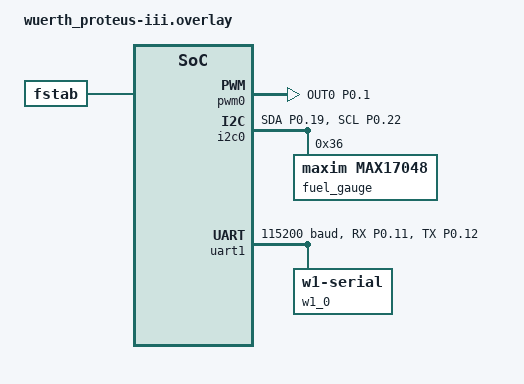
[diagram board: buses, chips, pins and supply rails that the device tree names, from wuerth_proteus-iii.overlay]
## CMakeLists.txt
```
cmake_minimum_required(VERSION 3.20.0)

# create compile_commands.json for VS Code
set(CMAKE_EXPORT_COMPILE_COMMANDS ON)

list(APPEND BOARD_ROOT ${CMAKE_CURRENT_SOURCE_DIR})
set(BOARD wuerth_proteus-iii)

list(APPEND ZEPHYR_EXTRA_MODULES
  ${CMAKE_CURRENT_SOURCE_DIR}/modules/max17048
)

find_package(Zephyr REQUIRED HINTS $ENV{ZEPHYR_BASE})
project(lh_device)

target_sources(app PRIVATE
  src/main.c
  src/ble.c
  src/pwm.c
  src/temp.c
  # src/adc.c
  src/battery.c
  src/power.c
  src/storage.c
)
```

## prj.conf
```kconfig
# General settings
CONFIG_SERIALNO=17
# CONFIG_BT_CTLR_ADV_EXT=y

# BLE-related settings
CONFIG_BT_DEVICE_NAME="lh_device_17"
CONFIG_BT=y
CONFIG_BT_PERIPHERAL=y
CONFIG_SETTINGS=y
CONFIG_NVS=y
CONFIG_FLASH=y
CONFIG_FLASH_MAP=y
CONFIG_SETTINGS_NVS=y
CONFIG_BT_SETTINGS=y
# Generic Light Source (0x7C0)
CONFIG_BT_DEVICE_APPEARANCE=1984
# Zephyr controller
CONFIG_BT_LL_SW_SPLIT=y
CONFIG_BT_CTLR_TX_PWR_PLUS_8=y  # +8 dBm
CONFIG_BT_SMP=y  # encryption support
CONFIG_BT_MAX_CONN=1
CONFIG_BT_BONDABLE=n
# workaround for https://github.com/zephyrproject-rtos/zephyr/issues/56197
CONFIG_BT_LL_SW_LLCP_LEGACY=y

# BLE connection power saving
CONFIG_BT_PERIPHERAL_PREF_MIN_INT=80
CONFIG_BT_PERIPHERAL_PREF_MAX_INT=100
CONFIG_BT_PERIPHERAL_PREF_LATENCY=2
CONFIG_BT_PERIPHERAL_PREF_TIMEOUT=500

# Sensors
CONFIG_SENSOR=y
CONFIG_BT_BAS=y
CONFIG_TEMP_NRF5=y
CONFIG_W1=y
CONFIG_DS18B20=y
CONFIG_I2C=y
CONFIG_MAX17048=y

# ADC
# CONFIG_ADC=y

# Power saving
CONFIG_PM_DEVICE=y

# PWM
CONFIG_NRFX_PWM0=y

# Enable MCUBoot
CONFIG_BOOTLOADER_MCUBOOT=y
CONFIG_MCUBOOT_IMAGE_VERSION="1.0.2"
CONFIG_MCUBOOT_UTIL_LOG_LEVEL_DBG=y

# OTA upgrades
CONFIG_MCUMGR=y
CONFIG_SYSTEM_WORKQUEUE_STACK_SIZE=4096
# Allow for large Bluetooth data packets
CONFIG_BT_L2CAP_TX_MTU=252
CONFIG_BT_BUF_ACL_RX_SIZE=256
# workaround for https://github.com/zephyrproject-rtos/zephyr/issues/44998
CONFIG_BT_L2CAP_TX_BUF_COUNT=128
CONFIG_MCUMGR_SMP_BT=y
CONFIG_MCUMGR_SMP_BT_AUTHEN=n
CONFIG_MCUMGR_SMP_BT_CONN_PARAM_CONTROL=y
CONFIG_MCUMGR_CMD_OS_MGMT=y
CONFIG_OS_MGMT_TASKSTAT=y
CONFIG_MCUMGR_CMD_IMG_MGMT=y
CONFIG_STATS=y
CONFIG_STATS_NAMES=y
CONFIG_MCUMGR_CMD_STAT_MGMT=y

# Logging
CONFIG_LOG=y
CONFIG_LOG_DEFAULT_LEVEL=2
CONFIG_LOG_MAX_LEVEL=2
CONFIG_LOG_PROCESS_THREAD_STACK_SIZE=4096
CONFIG_FILE_SYSTEM=y
CONFIG_FILE_SYSTEM_LITTLEFS=y
CONFIG_LOG_BACKEND_SHOW_COLOR=n
CONFIG_LOG_BACKEND_FS=y
CONFIG_LOG_BACKEND_FS_DIR="/lfs"
CONFIG_LOG_BACKEND_FS_FILES_LIMIT=3
CONFIG_LOG_BACKEND_FS_FILE_SIZE=1024
CONFIG_MCUMGR_CMD_FS_MGMT=y
CONFIG_HEAP_MEM_POOL_SIZE=16384
CONFIG_FILE_SYSTEM_SHELL=y

# Watchdog
CONFIG_WATCHDOG=y

# Debugging
CONFIG_DEBUG_THREAD_INFO=y
CONFIG_CBPRINTF_FP_SUPPORT=y
CONFIG_SHELL=y
CONFIG_BT_SHELL=y
CONFIG_SETTINGS_SHELL=y
CONFIG_MCUMGR_CMD_SHELL_MGMT=y
# minimal shell config
CONFIG_SHELL_MINIMAL=y
CONFIG_SHELL_VT100_COMMANDS=n
CONFIG_DEVMEM_SHELL=y
CONFIG_KERNEL_SHELL=y
CONFIG_DEVICE_SHELL=y
CONFIG_SHELL_BACKEND_SERIAL=n
CONFIG_SHELL_LOG_BACKEND=n
# extend buffers to avoid shell output truncation
CONFIG_SHELL_BACKEND_DUMMY_BUF_SIZE=1500
# Enable the mcumgr Packet Reassembly feature over Bluetooth and its configuration dependencies.
# MCUmgr buffer size is optimized to fit one SMP packet divided into five Bluetooth Write Commands,
# transmitted with the maximum possible MTU value: 498 bytes.
CONFIG_MCUMGR_SMP_REASSEMBLY_BT=y
CONFIG_MCUMGR_BUF_SIZE=2475
CONFIG_OS_MGMT_MCUMGR_PARAMS=y
CONFIG_MCUMGR_SMP_WORKQUEUE_STACK_SIZE=4608

# RTT
# CONFIG_USE_SEGGER_RTT=y
# CONFIG_RTT_CONSOLE=y
```

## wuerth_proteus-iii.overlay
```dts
/ {
	chosen {
		zephyr,shell-uart = &uart0;
	};
	aliases {
		pwm-led = &pwm0;
		chip-temp = &temp;
		ext-temp = &ext_temp;
		fuel-gauge = &fuel_gauge;
	};
	fstab {
		compatible = "zephyr,fstab";
		lfs: lfs {
			compatible = "zephyr,fstab,littlefs";
			mount-point = "/lfs";
			partition = <&lfs_partition>;
			automount;
			read-size = <16>;
			prog-size = <16>;
			cache-size = <64>;
			lookahead-size = <32>;
			block-cycles = <512>;
		};
	};
};

&pinctrl {
	uart1_default: uart1_default {
		group1 {
			psels = <NRF_PSEL(UART_RX, 0, 11)>;
			bias-pull-up;
		};
		group2 {
			psels = <NRF_PSEL(UART_TX, 0, 12)>;
			nordic,drive-mode = <NRF_DRIVE_H0D1>;
		};
	};
	uart1_sleep: uart1_sleep {
		group1 {
			psels = <NRF_PSEL(UART_RX, 0, 11)>,
					<NRF_PSEL(UART_TX, 0, 12)>;
			low-power-enable;
		};
	};
	i2c0_default: i2c0_default {
		group1{
			psels = <NRF_PSEL(TWIM_SDA, 0, 19)>,
					<NRF_PSEL(TWIM_SCL, 0, 22)>;
		};
	};
	i2c0_sleep: i2c0_sleep {
		group1{
			psels = <NRF_PSEL(TWIM_SDA, 0, 19)>,
					<NRF_PSEL(TWIM_SCL, 0, 22)>;
			low-power-enable;
		};
	};
	pwm0_default: pwm0_default {
		group1{
			psels = <NRF_PSEL(PWM_OUT0, 0, 1)>;
		};
	};
	pwm0_sleep: pwm0_sleep {
		group1{
			psels = <NRF_PSEL(PWM_OUT0, 0, 1)>;
			low-power-enable;
		};
	};
};

&pwm0 {
	status = "okay";
	pinctrl-0 = <&pwm0_default>;
	pinctrl-1 = <&pwm0_sleep>;
	pinctrl-names = "default", "sleep";
};

&i2c0 {
	status = "okay";
	pinctrl-0 = <&i2c0_default>;
	pinctrl-1 = <&i2c0_sleep>;
	pinctrl-names = "default", "sleep";

	fuel_gauge: max17048@36 {
		status = "okay";
		compatible = "maxim,max17048";
		enable-sleep;
		reg = <0x36>;
	};
};

&uart1 {
	status = "okay";
	current-speed = <115200>;
	pinctrl-0 = <&uart1_default>;
	pinctrl-1 = <&uart1_sleep>;
	pinctrl-names = "default", "sleep";

	w1_0: w1-zephyr-serial-0 {
		status = "okay";
		compatible = "zephyr,w1-serial";

		ext_temp: ds18b20 {
			status = "okay";
			compatible = "maxim,ds18b20";
			family-code = <0x28>;
			resolution = <12>;
		};
	};
};
```

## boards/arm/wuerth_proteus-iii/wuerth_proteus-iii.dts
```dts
// Copyright (c) 2021 Nordic Semiconductor ASA
// SPDX-License-Identifier: Apache-2.0

/dts-v1/;
#include <nordic/nrf52840_qiaa.dtsi>

/ {
	model = "Wuerth Proteus-III";
	compatible = "wuerth,wuerth_proteus-iii";

	chosen {
		zephyr,console = &uart0;
		zephyr,sram = &sram0;
		zephyr,flash = &flash0;
		zephyr,code-partition = &code_partition;
		zephyr,storage-partition = &storage_partition;
	};
};

&pinctrl {
	uart0_default: uart0_default {
		group1 {
			psels = <NRF_PSEL(UART_TX, 1, 8)>;
		};
		group2 {
			psels = <NRF_PSEL(UART_RX, 1, 9)>;
			bias-pull-up;
		};
	};
	uart0_sleep: uart0_sleep {
		group1 {
			psels = <NRF_PSEL(UART_TX, 1, 8)>,
					<NRF_PSEL(UART_RX, 1, 9)>;
			low-power-enable;
		};
	};
};

&uart0 {
	current-speed = <115200>;
	status = "okay";
	pinctrl-0 = <&uart0_default>;
	pinctrl-1 = <&uart0_sleep>;
	pinctrl-names = "default", "sleep";
	// tx-pin = <40>;
	// rx-pin = <41>;
};

&flash0 {
	partitions {
		compatible = "fixed-partitions";
		#address-cells = <1>;
		#size-cells = <1>;

		code_partition: partition@0 {
			label = "code";
			reg = <0x0 DT_SIZE_K(992)>;
		};
		storage_partition: partition@f8000 {
			label = "storage";
			reg = <DT_SIZE_K(992) DT_SIZE_K(24)>;
		};
		lfs_partition: partition@fe000 {
			label = "lfs";
			reg = <DT_SIZE_K(1016) DT_SIZE_K(8)>;
		};
	};
};
```

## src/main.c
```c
// SPDX-License-Identifier: GPL-3.0-only

/*
 *  Copyright (c) 2022 David Schiller <david.schiller@jku.at>
 */

#include "battery.h"
#include "ble.h"
#include "power.h"
#include "storage.h"
#include "temp.h"
#include <zephyr/bluetooth/services/bas.h>
#include <zephyr/drivers/watchdog.h>
#include <zephyr/logging/log.h>
#include <zephyr/pm/device.h>

LOG_MODULE_REGISTER(main);

#define LOW_POWER
#define LOG_INTERVAL 300000
#define WDT_INTERVAL (2 * LOG_INTERVAL)

extern STATS_SECT_DECL(dev_stats) dev_stats;
static const struct device *wdt_dev = DEVICE_DT_GET(DT_NODELABEL(wdt));
static int wdt_channel;

int setup_watchdog(void) {
    const struct wdt_timeout_cfg wdt_cfg = {
        .window = (struct wdt_window){0, WDT_INTERVAL},
        .flags = WDT_FLAG_RESET_SOC,
    };

    wdt_channel = wdt_install_timeout(wdt_dev, &wdt_cfg);
    if (wdt_channel >= 0) {
        return wdt_setup(wdt_dev, WDT_OPT_PAUSE_HALTED_BY_DBG);
    } else {
        return wdt_channel;
    }
}

void main(void) {
    int err;
    int reboot_count = -1;

    printk("Starting LionHearted device ...\n");
    printk("Serial No.: %03d\n", CONFIG_SERIALNO);
    printk("Build time: " __DATE__ " " __TIME__ "\n");
    printk("Reset reason: 0x%X\n", NRF_POWER->RESETREAS);

    err = setup_storage();
    if (err) {
        LOG_ERR("Storage setup failed (err %d)", err);
    } else {
        reboot_count = read_storage_i32(REBOOT_ID);
        if (reboot_count < 0) {
            write_storage_i32(REBOOT_ID, 0);
        } else {
            write_storage_i32(REBOOT_ID, ++reboot_count);
        }
        reboot_count = read_storage_i32(REBOOT_ID);
        printk("Reboot count: %d\n", reboot_count);
    }

    err = setup_watchdog();
    if (err) {
        LOG_ERR("WDT setup failed (err %d)", err);
    }
    wdt_feed(wdt_dev, wdt_channel);

    setup_ble();
    STATS_SET(dev_stats, reset_reason, NRF_POWER->RESETREAS);
    STATS_SET(dev_stats, reboots, reboot_count);
    printk("\n");

#ifdef LOW_POWER
    pm_console(PM_DEVICE_ACTION_SUSPEND);
    pm_w1(PM_DEVICE_ACTION_SUSPEND);
    pm_fuel_gauge(PM_DEVICE_ACTION_SUSPEND);
#endif

    for (;;) {
        wdt_feed(wdt_dev, wdt_channel);
        STATS_SET(dev_stats, uptime_s, k_uptime_get() / 1000);
        bt_bas_set_battery_level(read_soc());
        LOG_DBG("Batt: %d %%", bt_bas_get_battery_level());
        LOG_DBG("Batt (voltage): %d mV", read_voltage());
        update_adv();
        k_msleep(LOG_INTERVAL);
    }
}
```

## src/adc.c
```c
// SPDX-License-Identifier: GPL-3.0-only

/*
 *  Copyright (c) 2022 David Schiller <david.schiller@jku.at>
 */

#include <zephyr/drivers/adc.h>

#define AIN1 2
#define RESOLUTION 12

static const struct device *adc_dev = DEVICE_DT_GET(DT_NODELABEL(adc));
static const struct adc_channel_cfg adc_cfg = {.gain = ADC_GAIN_1_6,
                                               .reference = ADC_REF_INTERNAL,
                                               .acquisition_time =
                                                   ADC_ACQ_TIME_DEFAULT,
                                               .channel_id = 0,
                                               .differential = 0,
                                               .input_positive = AIN1};

int read_adc(void) {
    int16_t adc_value = 0;
    int32_t adc_int;
    struct adc_sequence_options adc_seq_opts = {.interval_us = 0,
                                                .callback = NULL,
                                                .user_data = NULL,
                                                .extra_samplings = 0};
    struct adc_sequence adc_seq = {.options = &adc_seq_opts,
                                   .channels = BIT(0),
                                   .buffer = &adc_value,
                                   .buffer_size = sizeof(adc_value),
                                   .resolution = RESOLUTION,
                                   .oversampling = 0,
                                   .calibrate = false};

    adc_channel_setup(adc_dev, &adc_cfg);
    adc_read(adc_dev, &adc_seq);
    adc_int = (int32_t)adc_value;

    return adc_raw_to_millivolts(adc_ref_internal(adc_dev), ADC_GAIN_1_6,
                                 RESOLUTION, &adc_int);
}
```

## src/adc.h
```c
// SPDX-License-Identifier: GPL-3.0-only

/*
 *  Copyright (c) 2022 David Schiller <david.schiller@jku.at>
 */

int read_adc(void);
```

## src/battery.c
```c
// SPDX-License-Identifier: GPL-3.0-only

/*
 *  Copyright (c) 2022 David Schiller <david.schiller@jku.at>
 */

#include "power.h"
#include <zephyr/drivers/sensor.h>

static const struct device *fuel_dev = DEVICE_DT_GET(DT_ALIAS(fuel_gauge));

int read_soc(void) {
    struct sensor_value soc;

    sensor_sample_fetch(fuel_dev);
    sensor_channel_get(fuel_dev, SENSOR_CHAN_GAUGE_STATE_OF_CHARGE, &soc);

    return soc.val1;
}

int read_voltage(void) {
    struct sensor_value voltage;

    sensor_sample_fetch(fuel_dev);
    sensor_channel_get(fuel_dev, SENSOR_CHAN_GAUGE_VOLTAGE, &voltage);

    // voltage in millivolts
    return voltage.val1 * 1000 + voltage.val2 / 1000;
}
```

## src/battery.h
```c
// SPDX-License-Identifier: GPL-3.0-only

/*
 *  Copyright (c) 2022 David Schiller <david.schiller@jku.at>
 */

int read_soc(void);
int read_voltage(void);
```

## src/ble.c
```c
// SPDX-License-Identifier: GPL-3.0-only

/*
 *  Copyright (c) 2022 David Schiller <david.schiller@jku.at>
 */

#include "ble.h"
#include "battery.h"
#include "temp.h"
#include <zephyr/bluetooth/bluetooth.h>
#include <zephyr/bluetooth/conn.h>
#include <zephyr/bluetooth/gatt.h>
#include <zephyr/bluetooth/uuid.h>
#include <zephyr/logging/log.h>
#include <zephyr/settings/settings.h>

// OTA
#ifdef CONFIG_MCUMGR_SMP_BT
#include <zephyr/mgmt/mcumgr/smp_bt.h>
#endif
#ifdef CONFIG_MCUMGR_CMD_OS_MGMT
#include "os_mgmt/os_mgmt.h"
#endif
#ifdef CONFIG_MCUMGR_CMD_IMG_MGMT
#include "img_mgmt/img_mgmt.h"
#endif
#ifdef CONFIG_MCUMGR_CMD_SHELL_MGMT
#include "shell_mgmt/shell_mgmt.h"
#endif
#ifdef CONFIG_MCUMGR_CMD_SHELL_MGMT
#include "fs_mgmt/fs_mgmt.h"
#endif
#ifdef CONFIG_MCUMGR_CMD_STAT_MGMT
STATS_SECT_DECL(dev_stats) dev_stats;
#endif

LOG_MODULE_REGISTER(ble);

// BLE
#define DEVICE_NAME CONFIG_BT_DEVICE_NAME
#define DEVICE_NAME_LEN (sizeof(DEVICE_NAME) - 1)
// #define MIN_ADV_INTERVAL BT_GAP_ADV_SLOW_INT_MIN // 1 s
// #define MAX_ADV_INTERVAL BT_GAP_ADV_SLOW_INT_MAX // 1.2 s
#define MIN_ADV_INTERVAL BT_GAP_ADV_SLOW_INT_MIN * 2
#define MAX_ADV_INTERVAL BT_GAP_ADV_SLOW_INT_MAX * 2

#define CPF_FORMAT_UINT8 0x04
#define CPF_FORMAT_UINT16 0x06
#define CPF_FORMAT_UINT32 0x08
#define CPF_FORMAT_SINT32 0x10
#define CPF_UNIT_PERCENT 0x27AD
#define CPF_UNIT_S 0x2703
#define CPF_UNIT_C 0x272F
#define CPF_UNIT_V 0x2728

// PWM
#define PWM_SERVICE_UUID 0xFFF0
#define PWM_DUTY_CHAR_UUID 0xFFF1
#define PWM_PULSE_CHAR_UUID 0xFFF2
#define PWM_TIMER_CHAR_UUID 0xFFF3
#define PWM_REPETITIONS_CHAR_UUID 0xFFF4

#define PWM_DUTY_LOWER 0
#define PWM_DUTY_UPPER 100
#define PWM_PULSE_LOWER 0
#define PWM_PULSE_UPPER PWM_PERIOD
#define PWM_REPETITION_INTEVAL (60 * 60 * 24)

static struct bt_uuid_16 pwm_service_uuid = BT_UUID_INIT_16(PWM_SERVICE_UUID);
static const struct bt_uuid_16 pwm_duty_char_uuid =
    BT_UUID_INIT_16(PWM_DUTY_CHAR_UUID);
static const struct bt_gatt_cpf pwm_duty_char_cpf = {.format = CPF_FORMAT_UINT8,
                                                     .unit = CPF_UNIT_PERCENT};
static const struct bt_uuid_16 pwm_pulse_char_uuid =
    BT_UUID_INIT_16(PWM_PULSE_CHAR_UUID);
static const struct bt_gatt_cpf pwm_pulse_char_cpf = {
    .format = CPF_FORMAT_UINT16, .exponent = -3, .unit = CPF_UNIT_S};
static const struct bt_uuid_16 pwm_timer_char_uuid =
    BT_UUID_INIT_16(PWM_TIMER_CHAR_UUID);
static const struct bt_gatt_cpf pwm_timer_char_cpf = {
    .format = CPF_FORMAT_UINT32, .unit = CPF_UNIT_S};
static const struct bt_uuid_16 pwm_repetitions_char_uuid =
    BT_UUID_INIT_16(PWM_REPETITIONS_CHAR_UUID);
static const struct bt_gatt_cpf pwm_repetitions_char_cpf = {
    .format = CPF_FORMAT_UINT32};
static struct pwm_params_t pwm_params = {.duty_percent = 0,
                                         .pulse_length = PWM_PULSE};
static void duty_pulse_handler(struct k_work *work) {
    set_duty_pulse(&pwm_params);
}
K_WORK_DEFINE(duty_pulse_work, duty_pulse_handler);
static void turn_off(struct k_timer *dummy) {
    /* we need to run "set_duty_pulse" from the system work queue rather than
       the idle thread to avoid timing issues and lockups */
    pwm_params.duty_percent = 0;
    k_work_submit(&duty_pulse_work);
};
static struct k_timer pwm_timer = {.expiry_fn = turn_off};
static struct pwm_repetitions_t pwm_repetitions;
static void repeat_pwm(struct k_timer *timer) {
    k_timer_stop(&pwm_timer);
    pwm_params.duty_percent = pwm_repetitions.duty_percent;
    k_work_submit(&duty_pulse_work);
    k_timer_start(&pwm_timer, K_MSEC(pwm_repetitions.timer_duration * 1000),
                  K_NO_WAIT);
    if (--pwm_repetitions.repetitions) {
        k_timer_start(timer, K_MSEC(PWM_REPETITION_INTEVAL * 1000), K_NO_WAIT);
    }
    LOG_DBG("repetitions = %u", pwm_repetitions.repetitions);
}
static struct k_timer pwm_repetitions_timer = {.expiry_fn = repeat_pwm};

static ssize_t read_duty(struct bt_conn *conn, const struct bt_gatt_attr *attr,
                         void *buf, uint16_t len, uint16_t offset) {
    uint8_t value;

    value = pwm_params.duty_percent;
    LOG_DBG("attribute = 0x%04X", value);
    return bt_gatt_attr_read(conn, attr, buf, sizeof(value), 0, &value,
                             sizeof(value));
};
static ssize_t read_duty_valid_range(struct bt_conn *conn,
                                     const struct bt_gatt_attr *attr, void *buf,
                                     uint16_t len, uint16_t offset) {
    uint8_t values[2] = {PWM_DUTY_LOWER, PWM_DUTY_UPPER};

    return bt_gatt_attr_read(conn, attr, buf, sizeof(values), 0, &values,
                             sizeof(values));
};
static ssize_t read_pulse(struct bt_conn *conn, const struct bt_gatt_attr *attr,
                          void *buf, uint16_t len, uint16_t offset) {
    uint16_t value;

    value = pwm_params.pulse_length;
    LOG_DBG("attribute = 0x%04X", value);
    return bt_gatt_attr_read(conn, attr, buf, sizeof(value), 0, &value,
                             sizeof(value));
};
static ssize_t read_pulse_valid_range(struct bt_conn *conn,
                                      const struct bt_gatt_attr *attr,
                                      void *buf, uint16_t len,
                                      uint16_t offset) {
    uint16_t values[2] = {PWM_PULSE_LOWER, PWM_PULSE_UPPER};

    return bt_gatt_attr_read(conn, attr, buf, sizeof(values), 0, &values,
                             sizeof(values));
};

static ssize_t write_duty(struct bt_conn *conn, const struct bt_gatt_attr *attr,
                          const void *buf, uint16_t len, uint16_t offset,
                          uint8_t flags) {
    uint8_t value;

    if (offset + len > sizeof(value)) {
        return BT_GATT_ERR(BT_ATT_ERR_INVALID_OFFSET);
    }
    memcpy(&value + offset, buf, len);
    LOG_DBG("attribute = 0x%02X", value);
    pwm_params.duty_percent = value;
    set_duty_pulse(&pwm_params);

    return len;
};
static ssize_t write_pulse(struct bt_conn *conn,
                           const struct bt_gatt_attr *attr, const void *buf,
                           uint16_t len, uint16_t offset, uint8_t flags) {
    uint16_t value;

    if (offset + len > sizeof(value)) {
        return BT_GATT_ERR(BT_ATT_ERR_INVALID_OFFSET);
    }
    memcpy(&value + offset, buf, len);
    LOG_DBG("attribute = 0x%04X", value);
    pwm_params.pulse_length = value;
    set_duty_pulse(&pwm_params);

    return len;
};
static ssize_t read_timer(struct bt_conn *conn, const struct bt_gatt_attr *attr,
                          void *buf, uint16_t len, uint16_t offset) {
    uint32_t value;

    value = k_timer_remaining_get(&pwm_timer) / 1000; // in milliseconds
    LOG_DBG("attribute = 0x%04X", value);
    return bt_gatt_attr_read(conn, attr, buf, sizeof(value), 0, &value,
                             sizeof(value));
};
static ssize_t write_timer(struct bt_conn *conn,
                           const struct bt_gatt_attr *attr, const void *buf,
                           uint16_t len, uint16_t offset, uint8_t flags) {
    uint32_t value;

    if (offset + len > sizeof(value)) {
        return BT_GATT_ERR(BT_ATT_ERR_INVALID_OFFSET);
    }
    memcpy(&value + offset, buf, len);
    k_timer_stop(&pwm_timer);
    k_timer_start(&pwm_timer, K_MSEC(value * 1000), K_NO_WAIT);
    if (pwm_repetitions.repetitions > 0) {
        pwm_repetitions.duty_percent = pwm_params.duty_percent;
        pwm_repetitions.timer_duration = value;
        k_timer_start(&pwm_repetitions_timer,
                      K_MSEC(PWM_REPETITION_INTEVAL * 1000), K_NO_WAIT);
    }
    LOG_DBG("attribute = 0x%04X", value);

    return len;
};

static ssize_t read_repetitions(struct bt_conn *conn,
                                const struct bt_gatt_attr *attr, void *buf,
                                uint16_t len, uint16_t offset) {
    uint32_t value;

    value = pwm_repetitions.repetitions;
    LOG_DBG("repetitions = 0x%04X", value);
    return bt_gatt_attr_read(conn, attr, buf, sizeof(value), 0, &value,
                             sizeof(value));
};
static ssize_t write_repetitions(struct bt_conn *conn,
                                 const struct bt_gatt_attr *attr,
                                 const void *buf, uint16_t len, uint16_t offset,
                                 uint8_t flags) {
    uint32_t value;

    if (offset + len > sizeof(value)) {
        return BT_GATT_ERR(BT_ATT_ERR_INVALID_OFFSET);
    }
    memcpy(&value + offset, buf, len);
    LOG_DBG("repetitions = 0x%04X", value);
    pwm_repetitions.repetitions = value;
    if (pwm_repetitions.repetitions == 0) {
        k_timer_stop(&pwm_repetitions_timer);
    }

    return len;
};

BT_GATT_SERVICE_DEFINE(
    pwm_service, BT_GATT_PRIMARY_SERVICE(&pwm_service_uuid),
    BT_GATT_CHARACTERISTIC(&pwm_duty_char_uuid.uuid,
                           BT_GATT_CHRC_READ | BT_GATT_CHRC_WRITE,
                           BT_GATT_PERM_READ | BT_GATT_PERM_WRITE, read_duty,
                           write_duty, NULL),
    BT_GATT_CUD("PWM duty cycle", BT_GATT_PERM_READ),
    BT_GATT_CPF(&pwm_duty_char_cpf),
    BT_GATT_DESCRIPTOR(BT_UUID_VALID_RANGE, BT_GATT_PERM_READ,
                       read_duty_valid_range, NULL, NULL),
    BT_GATT_CHARACTERISTIC(&pwm_pulse_char_uuid.uuid,
                           BT_GATT_CHRC_READ | BT_GATT_CHRC_WRITE,
                           BT_GATT_PERM_READ | BT_GATT_PERM_WRITE, read_pulse,
                           write_pulse, NULL),
    BT_GATT_CUD("PWM pulse length", BT_GATT_PERM_READ),
    BT_GATT_CPF(&pwm_pulse_char_cpf),
    BT_GATT_DESCRIPTOR(BT_UUID_VALID_RANGE, BT_GATT_PERM_READ,
                       read_pulse_valid_range, NULL, NULL),
    BT_GATT_CHARACTERISTIC(&pwm_timer_char_uuid.uuid,
                           BT_GATT_CHRC_READ | BT_GATT_CHRC_WRITE,
                           BT_GATT_PERM_READ | BT_GATT_PERM_WRITE, read_timer,
                           write_timer, NULL),
    BT_GATT_CUD("PWM timer", BT_GATT_PERM_READ),
    BT_GATT_CPF(&pwm_timer_char_cpf),
    BT_GATT_CHARACTERISTIC(&pwm_repetitions_char_uuid.uuid,
                           BT_GATT_CHRC_READ | BT_GATT_CHRC_WRITE,
                           BT_GATT_PERM_READ | BT_GATT_PERM_WRITE,
                           read_repetitions, write_repetitions, NULL),
    BT_GATT_CUD("PWM repetitions", BT_GATT_PERM_READ),
    BT_GATT_CPF(&pwm_repetitions_char_cpf), );

// SENSORS
#define SENSOR_SERVICE_UUID 0xFFE0
#define TEMP_EXT_CHAR_UUID 0xFFE1
#define TEMP_BOARD_CHAR_UUID 0xFFE2
#define BATT_VOLT_CHAR_UUID 0xFFE3

static struct bt_uuid_16 sensor_service_uuid =
    BT_UUID_INIT_16(SENSOR_SERVICE_UUID);
static const struct bt_uuid_16 temp_ext_char_uuid =
    BT_UUID_INIT_16(TEMP_EXT_CHAR_UUID);
static const struct bt_uuid_16 temp_board_char_uuid =
    BT_UUID_INIT_16(TEMP_BOARD_CHAR_UUID);
static const struct bt_gatt_cpf temp_char_cpf = {
    .format = CPF_FORMAT_SINT32, .exponent = -3, .unit = CPF_UNIT_C};

static ssize_t read_temp_ext(struct bt_conn *conn,
                             const struct bt_gatt_attr *attr, void *buf,
                             uint16_t len, uint16_t offset) {
    int32_t value;

    value = read_ext_temp();
    LOG_DBG("attribute = 0x%04X", value);
    return bt_gatt_attr_read(conn, attr, buf, sizeof(value), 0, &value,
                             sizeof(value));
};
static ssize_t read_temp_board(struct bt_conn *conn,
                               const struct bt_gatt_attr *attr, void *buf,
                               uint16_t len, uint16_t offset) {
    int32_t value;

    value = read_board_temp();
    LOG_DBG("attribute = 0x%04X", value);
    return bt_gatt_attr_read(conn, attr, buf, sizeof(value), 0, &value,
                             sizeof(value));
};

static const struct bt_uuid_16 batt_volt_char_uuid =
    BT_UUID_INIT_16(BATT_VOLT_CHAR_UUID);
static const struct bt_gatt_cpf batt_volt_char_cpf = {
    .format = CPF_FORMAT_SINT32, .exponent = -3, .unit = CPF_UNIT_V};

static ssize_t read_batt_volts(struct bt_conn *conn,
                               const struct bt_gatt_attr *attr, void *buf,
                               uint16_t len, uint16_t offset) {
    int32_t value;

    value = read_voltage();
    LOG_DBG("attribute = 0x%04X", value);
    return bt_gatt_attr_read(conn, attr, buf, sizeof(value), 0, &value,
                             sizeof(value));
};

BT_GATT_SERVICE_DEFINE(
    sensor_service, BT_GATT_PRIMARY_SERVICE(&sensor_service_uuid),
    BT_GATT_CHARACTERISTIC(&temp_ext_char_uuid.uuid, BT_GATT_CHRC_READ,
                           BT_GATT_PERM_READ, read_temp_ext, NULL, NULL),
    BT_GATT_CUD("Probe temperature", BT_GATT_PERM_READ),
    BT_GATT_CPF(&temp_char_cpf),
    BT_GATT_CHARACTERISTIC(&temp_board_char_uuid.uuid, BT_GATT_CHRC_READ,
                           BT_GATT_PERM_READ, read_temp_board, NULL, NULL),
    BT_GATT_CUD("Board temperature", BT_GATT_PERM_READ),
    BT_GATT_CPF(&temp_char_cpf),
    BT_GATT_CHARACTERISTIC(&batt_volt_char_uuid.uuid, BT_GATT_CHRC_READ,
                           BT_GATT_PERM_READ, read_batt_volts, NULL, NULL),
    BT_GATT_CUD("Battery voltage", BT_GATT_PERM_READ),
    BT_GATT_CPF(&batt_volt_char_cpf), );

static struct bt_data ad[] = {
    BT_DATA_BYTES(BT_DATA_FLAGS, (BT_LE_AD_GENERAL | BT_LE_AD_NO_BREDR)),
    BT_DATA(BT_DATA_NAME_COMPLETE, DEVICE_NAME, DEVICE_NAME_LEN),
    // "Generic Light Source" appearance
    // BT_DATA_BYTES(BT_DATA_GAP_APPEARANCE, 0xC0, 0x07),
    // PWM service
    BT_DATA_BYTES(BT_DATA_UUID16_ALL, BT_UUID_16_ENCODE(PWM_SERVICE_UUID)),
    BT_DATA_BYTES(BT_DATA_MANUFACTURER_DATA, 0x59, 0x00, 0x00, 0x00, 0x00),
};
static struct bt_data sd[] = {
    // OTA service
    BT_DATA_BYTES(
        BT_DATA_UUID128_ALL,
        BT_UUID_128_ENCODE(0x8d53dc1d, 0x1db7, 0x4cd3, 0x868b, 0x8a527460aa84)),
};
static const struct bt_le_adv_param adv_params =
    BT_LE_ADV_PARAM_INIT(BT_LE_ADV_OPT_CONNECTABLE | BT_LE_ADV_OPT_ONE_TIME |
                             BT_LE_ADV_OPT_USE_IDENTITY,
                         MIN_ADV_INTERVAL, MAX_ADV_INTERVAL, NULL);
static const struct bt_le_adv_param nconn_adv_params = BT_LE_ADV_PARAM_INIT(
    BT_LE_ADV_OPT_USE_IDENTITY, MIN_ADV_INTERVAL, MAX_ADV_INTERVAL, NULL);

static void connected(struct bt_conn *conn, uint8_t err) {
    if (err) {
        LOG_ERR("Connection failed (err %u)", err);
        return;
    }
    LOG_INF("Connected");

    LOG_DBG("bt_le_adv_start: %d\n",
            bt_le_adv_start(&nconn_adv_params, ad, ARRAY_SIZE(ad), sd,
                            ARRAY_SIZE(sd)));
}

static void resume_adv_handler(struct k_work *work) {
    bt_le_adv_start(&adv_params, ad, ARRAY_SIZE(ad), sd, ARRAY_SIZE(sd));
}
K_WORK_DEFINE(resume_adv_work, resume_adv_handler);
static void disconnected(struct bt_conn *conn, uint8_t reason) {
    LOG_INF("Disconnected (reason %u)", reason);

    LOG_DBG("bt_le_adv_stop: %d\n", bt_le_adv_stop());
    // we cannot resume connectable advertising in this function, we use the
    // work queue instead:
    // https://developer.nordicsemi.com/nRF_Connect_SDK/doc/2.2.0/zephyr/connectivity/bluetooth/api/connection_mgmt.html#c.bt_conn_cb.disconnected
    k_work_submit(&resume_adv_work);
}

static struct bt_conn_cb conn_callbacks = {
    .connected = connected,
    .disconnected = disconnected,
};

int setup_ble(void) {
    int err;

    bt_conn_cb_register(&conn_callbacks);
    err = bt_enable(NULL);
    if (err) {
        LOG_ERR("Bluetooth init failed (err %d)", err);
        return err;
    }
    LOG_INF("Bluetooth initialized");

    if (IS_ENABLED(CONFIG_SETTINGS)) {
        err = settings_load();
        if (err) {
            LOG_ERR("Failed to load settings (err %d)", err);
            return err;
        }
    }

    bt_addr_le_t addr;
    bt_id_get(&addr, NULL);
    printk("BT address: ");
    for (int i = BT_ADDR_SIZE - 1; i > 0; i--) {
        printk("%02X:", addr.a.val[i]);
    }
    printk("%02X\n", addr.a.val[0]);

    err = bt_le_adv_start(&adv_params, ad, ARRAY_SIZE(ad), sd, ARRAY_SIZE(sd));
    if (err) {
        LOG_ERR("Advertising failed to start (err %d)", err);
        return err;
    }
    LOG_INF("Advertising successfully started");

    os_mgmt_register_group();
    img_mgmt_register_group();
    stat_mgmt_register_group();
    shell_mgmt_register_group();
    fs_mgmt_register_group();
    err = smp_bt_register();
    if (err) {
        LOG_ERR("BT SMP failed to register (err %d)", err);
        return err;
    }
    STATS_INIT_AND_REG(dev_stats, STATS_SIZE_32, "dev_stats");

    setup_pwm();

    return 0;
}

void update_adv() {
    uint16_t temp = read_ext_temp();
    uint8_t soc = read_soc();
    ad[ARRAY_SIZE(ad) - 1].data = (uint8_t[]){0x59, 0x00, temp, temp >> 8, soc};
    bt_le_adv_update_data(ad, ARRAY_SIZE(ad), sd, ARRAY_SIZE(sd));
}
```

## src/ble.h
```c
// SPDX-License-Identifier: GPL-3.0-only

/*
 *  Copyright (c) 2022 David Schiller <david.schiller@jku.at>
 */

#include "pwm.h"
#include <stdint.h>

#ifdef CONFIG_MCUMGR_CMD_STAT_MGMT
#include "stat_mgmt/stat_mgmt.h"
#include <zephyr/stats/stats.h>
STATS_SECT_START(dev_stats)
STATS_SECT_ENTRY(uptime_s)
STATS_SECT_ENTRY(reboots)
STATS_SECT_ENTRY(reset_reason)
STATS_SECT_END;

STATS_NAME_START(dev_stats)
STATS_NAME(dev_stats, uptime_s)
STATS_NAME(dev_stats, reboots)
STATS_NAME(dev_stats, reset_reason)
STATS_NAME_END(dev_stats);
#endif

int setup_ble(void);
void update_adv(void);
struct pwm_repetitions_t {
    unsigned int repetitions;
    uint8_t duty_percent;
    uint32_t timer_duration;
};
```

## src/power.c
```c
// SPDX-License-Identifier: GPL-3.0-only

/*
 *  Copyright (c) 2022 David Schiller <david.schiller@jku.at>
 */

#include "power.h"
#include <zephyr/logging/log.h>

#define NRF_UART_ERRATUM

LOG_MODULE_REGISTER(power);

K_MUTEX_DEFINE(pm_mutex);

int pm_console(enum pm_device_action action) {
    int err;
    const struct device *uart0_dev = DEVICE_DT_GET(DT_CHOSEN(zephyr_console));

    k_mutex_lock(&pm_mutex, K_FOREVER);
#ifdef NRF_UART_ERRATUM
    // ERRATUM: properly power down UARTE to reduce current consumption
    // https://devzone.nordicsemi.com/f/nordic-q-a/26030/how-to-reach-nrf52840-uarte-current-supply-specification/184882#184882
    // https://devzone.nordicsemi.com/f/nordic-q-a/59407/simple-question-about-the-peripheral-reset-code
    if (action == PM_DEVICE_ACTION_SUSPEND) {
        NRF_UARTE0->TASKS_STOPRX = 1;
        while (!NRF_UARTE0->EVENTS_RXTO) {
        }
    }
#endif
    err = pm_device_action_run(uart0_dev, action);
    k_mutex_unlock(&pm_mutex);
    if (err && (err != -EALREADY)) {
        LOG_ERR("UART (console) action failed (err %d)", err);
        return err;
    }

    return 0;
}

int pm_fuel_gauge(enum pm_device_action action) {
    int err;
    const struct device *fuel_dev = DEVICE_DT_GET(DT_ALIAS(fuel_gauge));

    k_mutex_lock(&pm_mutex, K_FOREVER);
    err = pm_device_action_run(fuel_dev, action);
    k_mutex_unlock(&pm_mutex);
    if (err && (err != -EALREADY)) {
        LOG_ERR("Fuel gauge action failed (err %d)", err);
        return err;
    }

    return 0;
}

int pm_w1(enum pm_device_action action) {
    int err;
    const struct device *uart1_dev = DEVICE_DT_GET(DT_NODELABEL(uart1));

    k_mutex_lock(&pm_mutex, K_FOREVER);
#ifdef NRF_UART_ERRATUM
    if (action == PM_DEVICE_ACTION_SUSPEND) {
        NRF_UARTE1->TASKS_STOPRX = 1;
        while (!NRF_UARTE1->EVENTS_RXTO) {
        }
    }
#endif
    err = pm_device_action_run(uart1_dev, action);
    k_mutex_unlock(&pm_mutex);
    if (err && (err != -EALREADY)) {
        LOG_ERR("UART1 action failed (err %d)", err);
        return err;
    }

    k_msleep(10);

    return 0;
}
```

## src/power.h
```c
// SPDX-License-Identifier: GPL-3.0-only

/*
 *  Copyright (c) 2022 David Schiller <david.schiller@jku.at>
 */

#include <zephyr/pm/device.h>

int pm_console(enum pm_device_action action);
int pm_fuel_gauge(enum pm_device_action action);
int pm_w1(enum pm_device_action action);
```

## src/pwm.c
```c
// SPDX-License-Identifier: GPL-3.0-only

/*
 *  Copyright (c) 2022 David Schiller <david.schiller@jku.at>
 */

#include "pwm.h"
#include "power.h"
#include <zephyr/logging/log.h>

LOG_MODULE_REGISTER(pwm);

#include <nrfx_pwm.h>

#define PWM_PIN 1

static const nrfx_pwm_t pwm_instance = NRFX_PWM_INSTANCE(0);
static const nrfx_pwm_config_t pwm_config =
    NRFX_PWM_DEFAULT_CONFIG(PWM_PIN, NRFX_PWM_PIN_NOT_USED,
                            NRFX_PWM_PIN_NOT_USED, NRFX_PWM_PIN_NOT_USED);
static nrf_pwm_values_common_t pwm_duty_cycle = PWM_PERIOD;
// The second sequence needs to have more than one element due to erratum 183.
// More info here:
// https://devzone.nordicsemi.com/f/nordic-q-a/27891/pwm-finish-flag/110046#110046
static nrf_pwm_values_common_t pwm_off[2] = {PWM_PERIOD, PWM_PERIOD};
static nrf_pwm_sequence_t pwm_seq_0 = {.values.p_common = &pwm_duty_cycle,
                                       .length = sizeof(pwm_duty_cycle) /
                                                 sizeof(uint16_t),
                                       .repeats = PWM_PULSE,
                                       .end_delay = 0};
static nrf_pwm_sequence_t pwm_seq_1 = {.values.p_common = pwm_off,
                                       .length = ARRAY_SIZE(pwm_off),
                                       .repeats = (PWM_PERIOD - PWM_PULSE) / 2,
                                       .end_delay = 0};

int setup_pwm(void) {
    nrfx_err_t err;

    err = nrfx_pwm_init(&pwm_instance, &pwm_config, NULL, NULL);
    if (err != NRFX_SUCCESS) {
        LOG_ERR("init failed (err %d)", err);
    }

    return err;
}

void set_duty_pulse(struct pwm_params_t *params) {
    if (params->duty_percent > 0 && params->duty_percent <= 100) {
        pwm_duty_cycle = PWM_PERIOD * (1 - params->duty_percent / 100.0);
        // wake fuel gauge from hibernation for more accurate discharge tracking
        pm_fuel_gauge(PM_DEVICE_ACTION_RESUME);
    } else if (params->duty_percent == 0) {
        nrfx_pwm_stop(&pwm_instance, true);
        // hibernate fuel gauge
        pm_fuel_gauge(PM_DEVICE_ACTION_SUSPEND);
        return;
    } else {
        // set to default
        params->duty_percent = 0;
        pwm_duty_cycle = PWM_PERIOD;
        // hibernate fuel gauge
        pm_fuel_gauge(PM_DEVICE_ACTION_SUSPEND);
    }

    if (params->pulse_length > 0 && params->pulse_length <= PWM_PERIOD) {
        pwm_seq_0.repeats = params->pulse_length;
        pwm_seq_1.repeats = (PWM_PERIOD - params->pulse_length) / 2;
    } else {
        // set to default
        params->pulse_length = PWM_PULSE;
        pwm_seq_0.repeats = PWM_PULSE;
        pwm_seq_1.repeats = (PWM_PERIOD - PWM_PULSE) / 2;
    }

    LOG_DBG("duty_cycle = %u", pwm_duty_cycle);
    LOG_DBG("pulse_length = %u", pwm_seq_0.repeats);
    nrfx_pwm_complex_playback(&pwm_instance, &pwm_seq_0, &pwm_seq_1, 1,
                              NRFX_PWM_FLAG_LOOP);
}
```

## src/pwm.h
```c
// SPDX-License-Identifier: GPL-3.0-only

/*
 *  Copyright (c) 2022 David Schiller <david.schiller@jku.at>
 */

#include <stdint.h>

// defaults
#define PWM_PERIOD 1000
#define PWM_PULSE 1000

struct pwm_params_t {
    uint8_t duty_percent;
    uint16_t pulse_length;
};

int setup_pwm(void);
void set_duty_pulse(struct pwm_params_t *params);
```

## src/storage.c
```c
// SPDX-License-Identifier: GPL-3.0-only

/*
 *  Copyright (c) 2022 David Schiller <david.schiller@jku.at>
 */

#include <zephyr/drivers/flash.h>
#include <zephyr/fs/nvs.h>
#include <zephyr/logging/log.h>
#include <zephyr/storage/flash_map.h>

LOG_MODULE_REGISTER(storage);

static struct nvs_fs fs;

int setup_storage(void) {
    int err;
    struct flash_pages_info info;

    fs.flash_device = FLASH_AREA_DEVICE(storage);
    if (!device_is_ready(fs.flash_device)) {
        LOG_ERR("Flash device %s is not ready\n", fs.flash_device->name);
        return -EIO;
    }
    fs.offset = FLASH_AREA_OFFSET(storage);
    err = flash_get_page_info_by_offs(fs.flash_device, fs.offset, &info);
    if (err) {
        LOG_ERR("Unable to get page info\n");
        return err;
    }
    fs.sector_size = info.size;
    fs.sector_count = 2U; // 8096 bytes on nRF52840

    err = nvs_mount(&fs);
    if (err) {
        LOG_ERR("Flash Init failed\n");
        return err;
    }

    return 0;
}

int write_storage_i32(uint16_t id, int32_t data) {
    int err;

    err = nvs_write(&fs, id, &data, sizeof(data));
    if (err > 0) {
        return 0;
    } else {
        return err;
    }
}

int read_storage_i32(uint16_t id) {
    int err;
    int32_t data;

    err = nvs_read(&fs, id, &data, sizeof(data));
    if (err == sizeof(data)) {
        return (int)data;
    } else {
        return err;
    }
}
```

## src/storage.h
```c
// SPDX-License-Identifier: GPL-3.0-only

/*
 *  Copyright (c) 2022 David Schiller <david.schiller@jku.at>
 */

#define REBOOT_ID 1

int setup_storage(void);
int write_storage_i32(uint16_t id, uint32_t data);
int read_storage_i32(uint16_t id);
```
